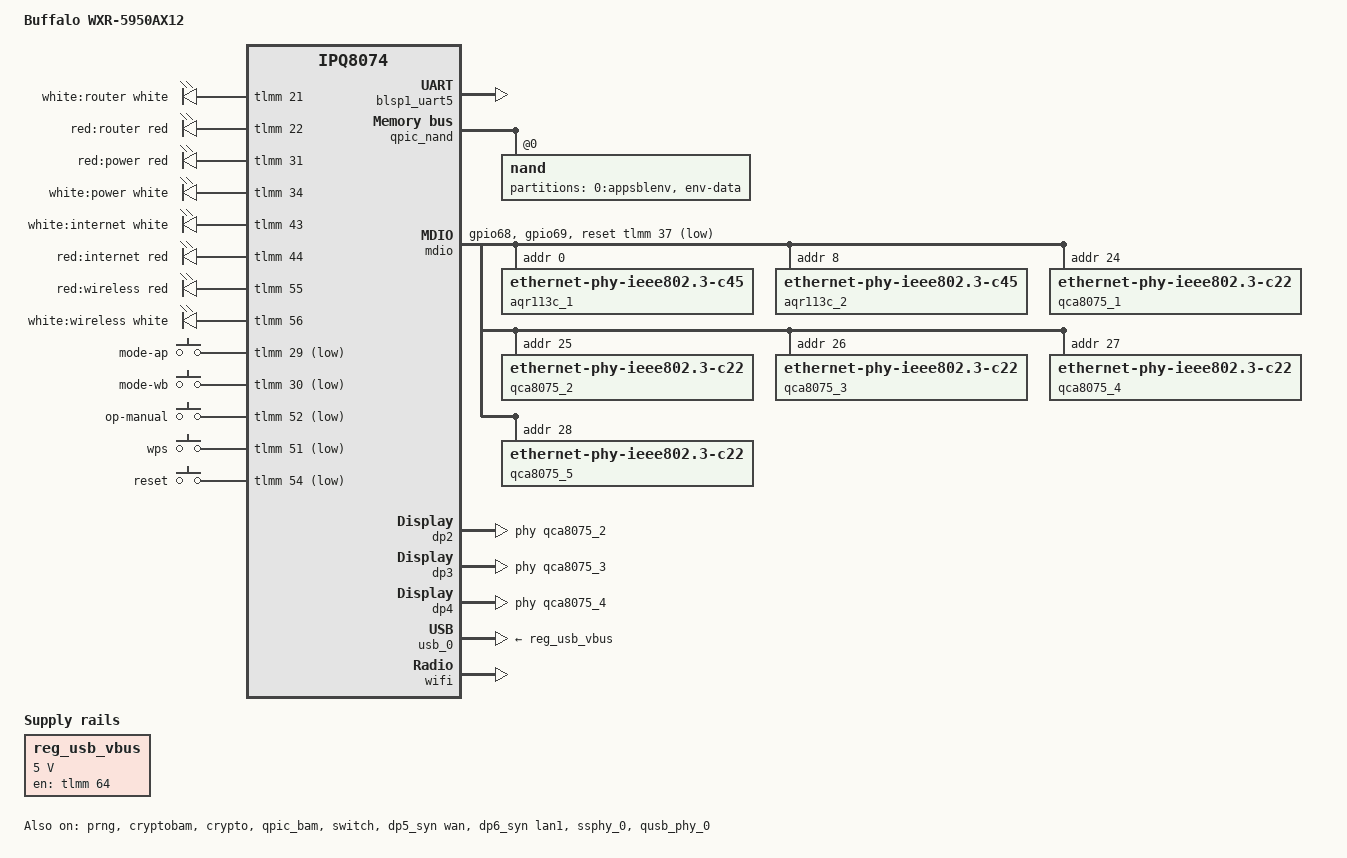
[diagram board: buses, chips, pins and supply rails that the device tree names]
// SPDX-License-Identifier: GPL-2.0-or-later OR MIT

/dts-v1/;

#include "ipq8074.dtsi"
#include "ipq8074-hk-cpu.dtsi"
#include "ipq8074-ess.dtsi"
#include "ipq8074-nss.dtsi"
#include <dt-bindings/gpio/gpio.h>
#include <dt-bindings/leds/common.h>
#include <dt-bindings/input/input.h>

/ {
	model = "Buffalo WXR-5950AX12";
	compatible = "buffalo,wxr-5950ax12", "qcom,ipq8074";

	aliases {
		serial0 = &blsp1_uart5;
		led-boot = &led_power_white;
		led-failsafe = &led_power_red;
		led-running = &led_power_white;
		led-upgrade = &led_power_white;
		label-mac-device = &dp5_syn;
	};

	chosen {
		stdout-path = "serial0:115200n8";
		bootargs-append = " ubi.mtd=user_property root=/dev/ubiblock1_0";
	};

	leds {
		compatible = "gpio-leds";

		led-0 {
			label = "white:router";
			gpios = <&tlmm 21 GPIO_ACTIVE_HIGH>;
			color = <LED_COLOR_ID_WHITE>;
		};

		led-1 {
			label = "red:router";
			gpios = <&tlmm 22 GPIO_ACTIVE_HIGH>;
			color = <LED_COLOR_ID_RED>;
		};

		led_power_red: led-2 {
			label = "red:power";
			gpios = <&tlmm 31 GPIO_ACTIVE_HIGH>;
			color = <LED_COLOR_ID_RED>;
			function = LED_FUNCTION_POWER;
		};

		led_power_white: led-3 {
			label = "white:power";
			gpios = <&tlmm 34 GPIO_ACTIVE_HIGH>;
			color = <LED_COLOR_ID_WHITE>;
			function = LED_FUNCTION_POWER;
		};

		led-4 {
			label = "white:internet";
			gpios = <&tlmm 43 GPIO_ACTIVE_HIGH>;
			color = <LED_COLOR_ID_WHITE>;
		};

		led-5 {
			label = "red:internet";
			gpios = <&tlmm 44 GPIO_ACTIVE_HIGH>;
			color = <LED_COLOR_ID_RED>;
		};

		led-6 {
			label = "red:wireless";
			gpios = <&tlmm 55 GPIO_ACTIVE_HIGH>;
			color = <LED_COLOR_ID_RED>;
			function = LED_FUNCTION_WLAN;
		};

		led-7 {
			label = "white:wireless";
			gpios = <&tlmm 56 GPIO_ACTIVE_HIGH>;
			color = <LED_COLOR_ID_WHITE>;
			function = LED_FUNCTION_WLAN;
		};
	};

	keys {
		compatible = "gpio-keys";

		/*
		 * mode: 3x position switch
		 *
		 * - ROUTER
		 * - AP
		 * - WB (Wireless Bridge)
		 */
		ap {
			label = "mode-ap";
			gpios = <&tlmm 29 GPIO_ACTIVE_LOW>;
			linux,code = <BTN_0>;
		};

		bridge {
			label = "mode-wb";
			gpios = <&tlmm 30 GPIO_ACTIVE_LOW>;
			linux,code = <BTN_1>;
		};

		/*
		 * op: 2x position switch
		 *
		 * - AUTO
		 * - MANUAL (select Router/AP/WB manually)
		 */
		manual {
			label = "op-manual";
			gpios = <&tlmm 52 GPIO_ACTIVE_LOW>;
			linux,code = <BTN_2>;
		};

		wps {
			label = "wps";
			gpios = <&tlmm 51 GPIO_ACTIVE_LOW>;
			linux,code = <KEY_WPS_BUTTON>;
		};

		reset {
			label = "reset";
			gpios = <&tlmm 54 GPIO_ACTIVE_LOW>;
			linux,code = <KEY_RESTART>;
		};
	};

	reg_usb_vbus: regulator-5v-vbus {
		compatible = "regulator-fixed";
		regulator-name = "vbus";
		regulator-min-microvolt = <5000000>;
		regulator-max-microvolt = <5000000>;
		gpio = <&tlmm 64 GPIO_ACTIVE_HIGH>;
		enable-active-high;
		regulator-always-on;
	};
};

&tlmm {
	mdio_pins: mdio-pins {
		mdc {
			pins = "gpio68";
			function = "mdc";
			drive-strength = <8>;
			bias-pull-up;
		};

		mdio {
			pins = "gpio69";
			function = "mdio";
			drive-strength = <8>;
			bias-pull-up;
		};
	};
};

&blsp1_uart5 {
	status = "okay";
};

&prng {
	status = "okay";
};

&cryptobam {
	status = "okay";
};

&crypto {
	status = "okay";
};

&qpic_bam {
	status = "okay";
};

&qpic_nand {
	status = "okay";

	nand@0 {
		reg = <0>;
		nand-ecc-strength = <4>;
		nand-ecc-step-size = <512>;
		nand-bus-width = <8>;

		partitions {
			compatible = "qcom,smem-part";

			partition-0-appsblenv {
				compatible = "fixed-partitions";
				label = "0:appsblenv";
				read-only;
				#address-cells = <1>;
				#size-cells = <1>;

				partition@0 {
					compatible = "u-boot,env";
					label = "env-data";
					reg = <0x0 0x40000>;

					macaddr_appsblenv_ethaddr: ethaddr {
					};
				};
			};
		};
	};
};

&mdio {
	status = "okay";
	pinctrl-0 = <&mdio_pins>;
	pinctrl-names = "default";
	/*
	 * RESET pins of phy chips
	 *
	 * WXR-5950AX12 has 2x RESET pins for QCA8075 and AQR113C.
	 * The pin of QCA8075 is for the chip and not phys in the chip, the
	 * pin of AQR113C is for 2x chips. So both pins are not appropriate
	 * to declare them as reset-gpios in phy nodes.
	 * Multiple entries in reset-gpios of mdio may not be supported, but
	 * leave the following as-is to show that the those reset pin exists.
	 */
	reset-gpios = <&tlmm 37 GPIO_ACTIVE_LOW>, /* QCA8075 RESET */
		      <&tlmm 63 GPIO_ACTIVE_LOW>; /* AQR113C RESET (2x) */

	aqr113c_1: ethernet-phy@0 {
		compatible = "ethernet-phy-ieee802.3-c45";
		reg = <0x0>;
	};

	aqr113c_2: ethernet-phy@8 {
		compatible = "ethernet-phy-ieee802.3-c45";
		reg = <0x8>;
	};

	qca8075_1: ethernet-phy@18 {
		compatible = "ethernet-phy-ieee802.3-c22";
		reg = <0x18>;
	};

	qca8075_2: ethernet-phy@19 {
		compatible = "ethernet-phy-ieee802.3-c22";
		reg = <0x19>;
	};

	qca8075_3: ethernet-phy@1a {
		compatible = "ethernet-phy-ieee802.3-c22";
		reg = <0x1a>;
	};

	qca8075_4: ethernet-phy@1b {
		compatible = "ethernet-phy-ieee802.3-c22";
		reg = <0x1b>;
	};

	qca8075_5: ethernet-phy@1c {
		compatible = "ethernet-phy-ieee802.3-c22";
		reg = <0x1c>;
	};
};

&switch {
	status = "okay";

	switch_cpu_bmp = <0x1>;
	switch_lan_bmp = <0x3e>;
	switch_wan_bmp = <0x40>;
	switch_mac_mode = <0xb>;
	switch_mac_mode1 = <0xd>;
	switch_mac_mode2 = <0xd>;
	bm_tick_mode = <0>;
	tm_tick_mode = <0>;

	qcom,port_phyinfo {
		port@0 {
			port_id = <1>;
			phy_address = <0x18>;
		};

		port@1 {
			port_id = <2>;
			phy_address = <0x19>;
		};

		port@2 {
			port_id = <3>;
			phy_address = <0x1a>;
		};

		port@3 {
			port_id = <4>;
			phy_address = <0x1b>;
		};

		port@4 {
			port_id = <5>;
			ethernet-phy-ieee802.3-c45;
			phy_address = <0x0>;
		};

		port@5 {
			port_id = <6>;
			ethernet-phy-ieee802.3-c45;
			phy_address = <0x8>;
		};
	};
};

&edma {
	status = "okay";
};

&dp2 {
	status = "okay";
	phy-handle = <&qca8075_2>;
	label = "lan4";
	nvmem-cells = <&macaddr_appsblenv_ethaddr>;
	nvmem-cell-names = "mac-address";
};

&dp3 {
	status = "okay";
	phy-handle = <&qca8075_3>;
	label = "lan3";
	nvmem-cells = <&macaddr_appsblenv_ethaddr>;
	nvmem-cell-names = "mac-address";
};

&dp4 {
	status = "okay";
	phy-handle = <&qca8075_4>;
	label = "lan2";
	nvmem-cells = <&macaddr_appsblenv_ethaddr>;
	nvmem-cell-names = "mac-address";
};

&dp5_syn {
	status = "okay";
	phy-handle = <&aqr113c_1>;
	label = "wan";
	nvmem-cells = <&macaddr_appsblenv_ethaddr>;
	nvmem-cell-names = "mac-address";
};

&dp6_syn {
	status = "okay";
	phy-handle = <&aqr113c_2>;
	label = "lan1";
	nvmem-cells = <&macaddr_appsblenv_ethaddr>;
	nvmem-cell-names = "mac-address";
};

&ssphy_0 {
	status = "okay";
};

&qusb_phy_0 {
	status = "okay";
};

&usb_0 {
	status = "okay";

	vbus-supply = <&reg_usb_vbus>;
};

&wifi {
	status = "okay";

	qcom,ath11k-calibration-variant = "Buffalo-WXR-5950AX12";
};
